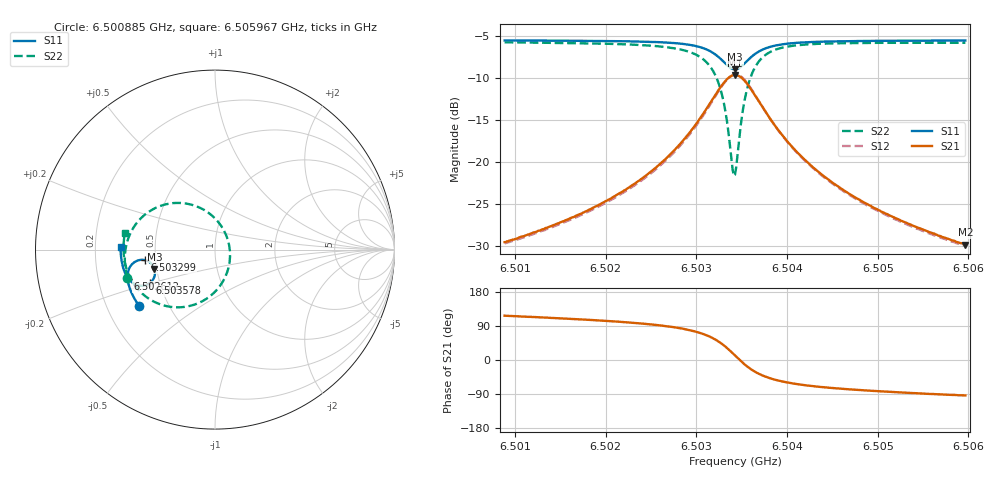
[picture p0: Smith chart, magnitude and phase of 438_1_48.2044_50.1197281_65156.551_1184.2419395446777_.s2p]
#  HZ  S  RI  R  50.00
! Rohde & Schwarz Vector Network Analyzer
! Rohde-Schwarz,ZNB20-2Port,1311601062101988,3.16
! Created: UTC 3/20/2024, 11:55:42 AM
! freq[Hz]  re:S11  im:S11  re:S21  im:S21  re:S12  im:S12  re:S22  im:S22
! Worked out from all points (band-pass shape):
!   401 points, 6.500885 GHz to 6.505967 GHz, reference 50 ohm
!   highest |S21| = -9.68 dB at 6.503426 GHz (marker M1); lowest = -29.9 dB at 6.505967 GHz (marker M2)
!   |S21| within 3 dB of the highest: 6.503172 GHz to 6.50368 GHz (507.7 kHz wide, 0.00781 % of centre)
!   lowest |S11| = -9.0 dB at 6.503426 GHz (marker M3), VSWR 2.10, Z = 24.3 - j5.95 ohm
!   |S11| at or under -10 dB: nowhere
!   |S22| runs from -21.7 to -5.8 dB; largest |S21 - S12| = 0.012
!   S11 on the Smith chart (normalised r, x): 6.500885 GHz: 0.34, -0.29; 6.502612 GHz: 0.33, -0.15; 6.503299 GHz: 0.44, -0.06; 6.503578 GHz: 0.44, -0.20; 6.505967 GHz: 0.31, +0.01
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6.5008846e9  -0.4235 -0.3129  -0.015 0.0296  -0.0132 0.0297  -0.4875 -0.1609
6.5017358e9  -0.4605 -0.2504  -0.0144 0.047  -0.0119 0.0468  -0.5018 -0.0715
6.5022186e9  -0.4776 -0.2078  -0.0113 0.067  -0.00843 0.066  -0.4991 -0.00348
6.5025871e9  -0.4865 -0.1674  -0.00274 0.0957  0.000849 0.0933  -0.4806 0.0695
6.5026125e9  -0.4868 -0.164  -0.00157 0.0984  0.00211 0.096  -0.4782 0.0757
6.5029047e9  -0.4833 -0.1195  0.0253 0.142  0.0292 0.1376  -0.4224 0.1646
6.5030953e9  -0.4623 -0.0814  0.0789 0.184  0.0814 0.1778  -0.32 0.237
6.5032096e9  -0.43 -0.0606  0.1473 0.2017  0.1483 0.1954  -0.1967 0.26
6.5032986e9  -0.3898 -0.0587  0.2265 0.186  0.227 0.1808  -0.0601 0.2207
6.5033367e9  -0.3705 -0.0662  0.2628 0.1631  0.2637 0.1584  -0.000188 0.1744
6.5034002e9  -0.3438 -0.0927  0.3107 0.0995  0.3132 0.0946  0.0721 0.0521
6.5034256e9  -0.3374 -0.1072  0.321 0.0675  0.3242 0.0616  0.0831 -0.00784
6.503451e9  -0.3344 -0.1228  0.3246 0.0339  0.3281 0.0268  0.0815 -0.0691
6.5035145e9  -0.3415 -0.1601  0.3067 -0.0439  0.3089 -0.054  0.0265 -0.2042
6.5035781e9  -0.3625 -0.1861  0.264 -0.098  0.263 -0.1094  -0.0697 -0.2871
6.5036797e9  -0.4021 -0.2013  0.1895 -0.1342  0.1842 -0.1439  -0.2194 -0.3215
6.5038449e9  -0.4482 -0.1915  0.108 -0.1313  0.1011 -0.1364  -0.3662 -0.275
6.5040227e9  -0.4756 -0.1703  0.0638 -0.1113  0.0575 -0.1137  -0.4381 -0.2105
6.5042768e9  -0.4961 -0.1402  0.0339 -0.0872  0.0291 -0.0877  -0.4813 -0.1386
6.5046453e9  -0.5115 -0.1018  0.0153 -0.0646  0.0119 -0.0644  -0.5033 -0.0659
6.5051281e9  -0.5211 -0.0574  0.00497 -0.0476  0.00277 -0.047  -0.51 0.00176
6.5059666e9  -0.5259 0.0135  -0.00204 -0.032  -0.00335 -0.0312  -0.5019 0.0898
